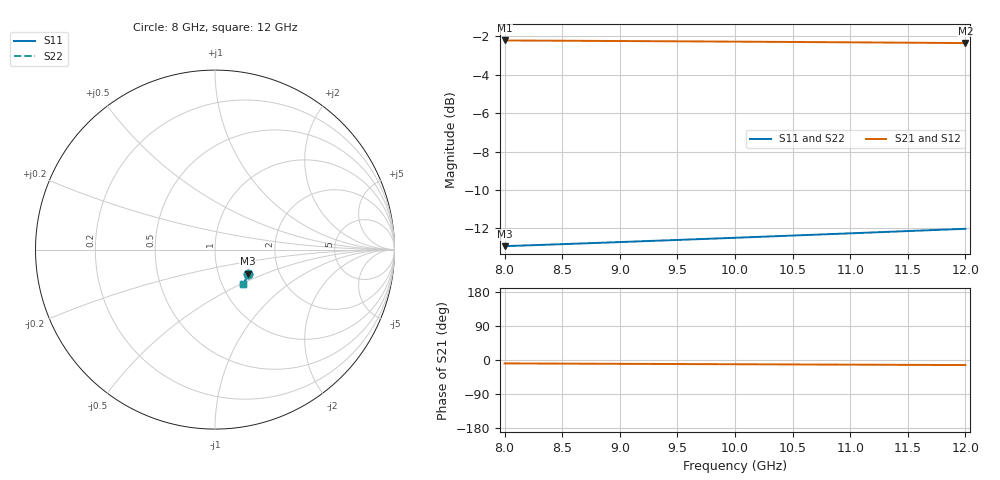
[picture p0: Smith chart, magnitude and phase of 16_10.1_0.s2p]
! Created Tue Oct 27 17:29:02 2020
# ghz S db R 50
! 2 Port Network Data from SP1.SP block
! freq  dbS11  angS11  dbS21  angS21  dbS12  angS12  dbS22  angS22
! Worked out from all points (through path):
!   9 points, 8 GHz to 12 GHz, reference 50 ohm
!   highest |S21| = -2.22 dB at 8 GHz (marker M1); lowest = -2.4 dB at 12 GHz (marker M2)
!   lowest |S11| = -12.9 dB at 8 GHz (marker M3), VSWR 1.58, Z = 69.1 - j19.4 ohm
!   |S11| at or under -10 dB: start of sweep to end of sweep
!   |S22| runs from -12.9 to -12.0 dB; largest |S21 - S12| = 9.1e-16
8  -12.92 -36.1  -2.22 -9.0  -2.22 -9.0  -12.92 -36.1
8.5  -12.82 -38.1  -2.24 -9.6  -2.24 -9.6  -12.82 -38.1
9  -12.71 -40.0  -2.25 -10.1  -2.25 -10.1  -12.71 -40.0
9.5  -12.60 -41.9  -2.27 -10.6  -2.27 -10.6  -12.60 -41.9
10  -12.49 -43.8  -2.28 -11.2  -2.28 -11.2  -12.49 -43.8
10.5  -12.37 -45.6  -2.30 -11.7  -2.30 -11.7  -12.37 -45.6
11  -12.25 -47.3  -2.32 -12.3  -2.32 -12.3  -12.25 -47.3
11.5  -12.14 -49.1  -2.34 -12.8  -2.34 -12.8  -12.14 -49.1
12  -12.02 -50.7  -2.36 -13.3  -2.36 -13.3  -12.02 -50.7
